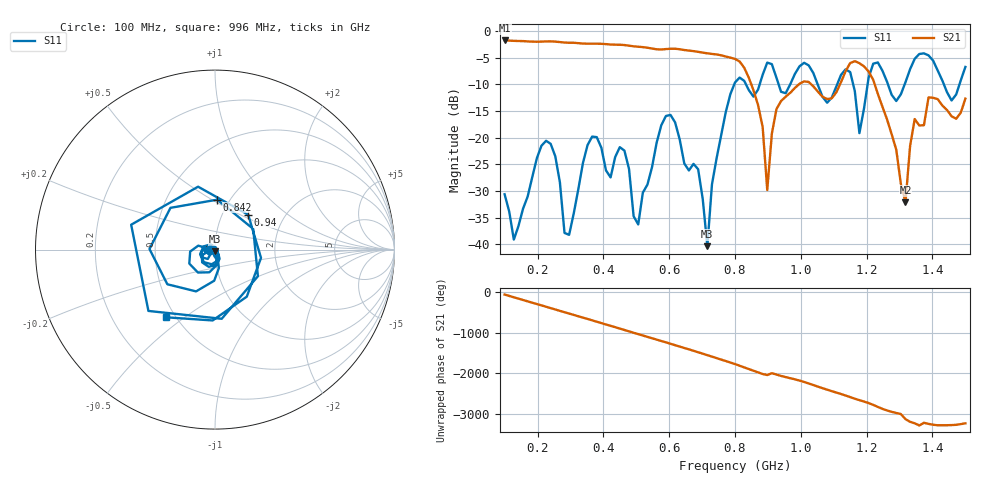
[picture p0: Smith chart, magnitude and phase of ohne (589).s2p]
! NanoVNA-App
! Date: 2025-09-25 14:25:23
! Start: 100MHz Stop: 1,5GHz Points: 101
! S-Parameter data: F S11 S21 S12 S22
# Hz S RI R 50
!  Frequency  S11_Real  S11_Imag  S21_Real  S21_Imag  S12_Real  S12_Imag  S22_Real  S22_Imag
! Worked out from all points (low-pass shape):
!   101 points, 100 MHz to 1.5 GHz, reference 50 ohm
!   highest |S21| = -1.79 dB at 100 MHz (marker M1); lowest = -32.1 dB at 1.318 GHz (marker M2)
!   |S21| within 3 dB of the highest: start of sweep to 771.2 MHz
!   lowest |S11| = -40.4 dB at 716 MHz (marker M3), VSWR 1.02, Z = 49.7 - j0.918 ohm
!   |S11| at or under -10 dB: start of sweep to 797.9 MHz; 833.1 MHz to 875.1 MHz (42.02 MHz wide, 4.92 % of centre); 1.051 GHz to 1.111 GHz (59.75 MHz wide, 5.53 % of centre) (the widest 3 of 7)
!   S12 and S22 are empty: the file has one direction only
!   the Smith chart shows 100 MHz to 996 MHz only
!   S11 on the Smith chart (normalised r, x): 100 MHz: 0.94, -0.01; 842 MHz: 0.88, +0.53; 940 MHz: 1.32, +0.55; 996 MHz: 0.44, -0.43
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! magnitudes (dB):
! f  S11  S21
! 100 MHz  -30.6  -1.8
! 128 MHz  -39.1  -1.9
! 226 MHz  -20.6  -2.0
! 296 MHz  -38.2  -2.2
! 338 MHz  -24.8  -2.4
! 464 MHz  -22.4  -2.7
! 506 MHz  -36.3  -3.0
! 576 MHz  -17.7  -3.5
! 688 MHz  -25.9  -3.9
! 716 MHz  -40.4  -4.2
! 800 MHz  -9.7  -5.3
! 842 MHz  -11.1  -8.8
! 898 MHz  -5.9  -29.8
! 940 MHz  -11.4  -13.1
! 996 MHz  -6.6  -9.9
! 1.038 GHz  -7.9  -10.4
! 1.178 GHz  -19.2  -6.1
! 1.22 GHz  -6.2  -9.2
! 1.276 GHz  -12.0  -19.4
! 1.318 GHz  -9.6  -32.1
! 1.346 GHz  -5.2  -16.5
! 1.5 GHz  -6.8  -12.7
